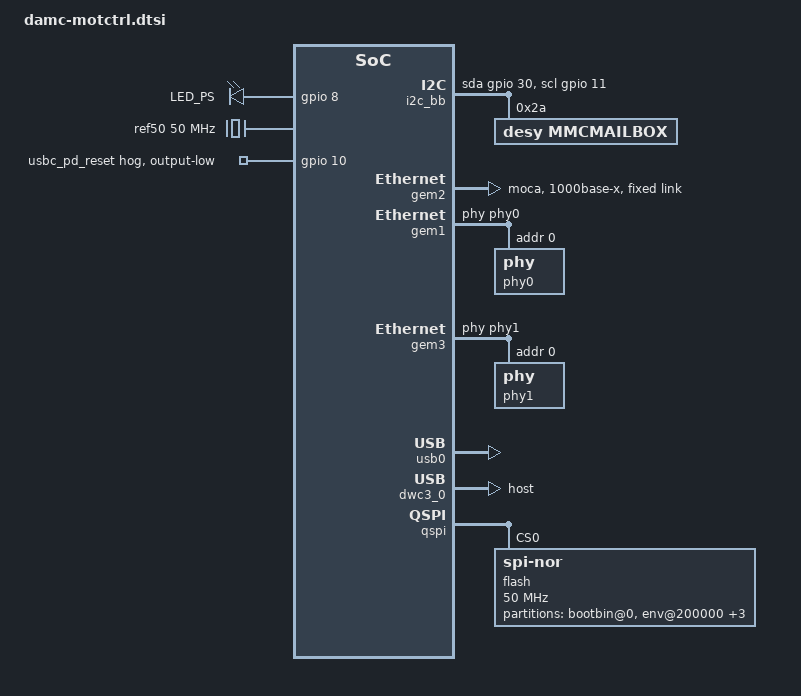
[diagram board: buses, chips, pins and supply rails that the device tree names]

#include "dt-bindings/gpio/gpio.h"
#include "dt-bindings/phy/phy.h"

/ {
/* No MAC EEPROM ==> Use STAMP UID */

    gpio-leds {
        compatible = "gpio-leds";

        // MIO8 DEBUG LED
        led-ps1 {
            label = "LED_PS";
            linux,default-trigger = "heartbeat";
            gpios = <&gpio 8 GPIO_ACTIVE_HIGH>;
        };
    };

    /* 50MHz reference crystal Y2 */
    ref50: ref50M {
        compatible = "fixed-clock";
        #clock-cells = <0>;
        clock-frequency = <50000000>;
    };

    i2c_bb {
        compatible = "i2c-gpio";

        scl-gpios = <&gpio 11 (GPIO_ACTIVE_HIGH|GPIO_OPEN_DRAIN)>;
        sda-gpios = <&gpio 30 (GPIO_ACTIVE_HIGH|GPIO_OPEN_DRAIN)>;

        mmcmailbox@2a {
            compatible = "desy,mmcmailbox";
            reg = <0x2a>;
        };
    };
};

// GEM1, GEM3: RGMII <--> 88E1512
// GEM2: 1000BASE-X (no ext. PHY)
// On Rev.A, there is no UID EEPROM for the MAC addresses,
// they have to be set in U-Boot: https://redmine.msktools.desy.de/issues/12083#note-2
&gem2 {
    is-internal-pcspma;
    phy-mode = "moca";
    phy-connection-type = "1000base-x";
    fixed-link {
          speed = <1000>;
          full-duplex;
    };
};

&gem1 {
    phy-handle = <&phy0>;
	phy0: phy@0 {
		reg = <0x0>;
        device_type = "ethernet-phy";
        marvell,reg-init =
          <18 20 0xfff8 0x2>;
	};
};

&gem3 {
    phy-handle = <&phy1>;
	phy1: phy@0 {
		reg = <0x0>;
        device_type = "ethernet-phy";
        marvell,reg-init =
          <18 20 0xfff8 0x2>;
	};
};

&sdhci0 {
    // WP pin is not available on microSD, not connected on the board
    disable-wp;

    // the HW does not support SD 3.0
    no-1-8-v;
};

&gpio {
    /*
    No pins were available, I2C always on
    i2c0oe {
        gpio-hog;
        output-high;
        gpios = <20 GPIO_ACTIVE_HIGH>;
    };
    */
    // USB Host ist drauf
    // USB3 Pin nicht verbunden!
    // USB C ist USB 2 und Display Port
    usbc_pd_reset {
        gpio-hog;
        output-low;
        gpios = <10 GPIO_ACTIVE_HIGH>;
    };
};


&i2c0 { // MIO6 / 7
    /*
        eeprom_mac: eeprom@50 {
            compatible = "atmel,24c02";
            reg = <0x50>;
            pagesize = <16>;
        };
    */
};

/*
&eeprom_mac  {
    #address-cells = <1>;
    #size-cells = <1>;

    eth_mac: eth_mac@fa {
        reg = <0xfa 0x6>;
    };
};
*/

/*
&dwc3_0 {
    status = "okay";
    dr_mode = "host";
    snps,usb3_lpm_capable;
    phy-names = "usb3-phy";
//    phys = <&lane2 PHY_TYPE_USB3 0 2 26000000>; Wir haben kein USB3 d.h. keinen dedizierten GTR Transceiver
    maximum-speed = "super-speed";
};
*/

/*

		usb0@ff9d0000 {
                        #address-cells = <0x02>;
                        #size-cells = <0x02>;
                        status = "okay";
                        compatible = "xlnx,zynqmp-dwc3";
                        reg = <0x00 0xff9d0000 0x00 0x100>;
                        clock-names = "bus_clk\0ref_clk";
                        power-domains = <0x0c 0x16>;
                        ranges;
                        nvmem-cells = <0x12>;
                        nvmem-cell-names = "soc_revision";
                        clocks = <0x03 0x20 0x03 0x22>;
                        xlnx,tz-nonsecure = <0x01>;
                        xlnx,usb-polarity = <0x01>;
                        xlnx,usb-reset-io = <0x0a>;
                        xlnx,usb-reset-mode = <0x02>;
                        phandle = <0x6a>;

                        dwc3@fe200000 {
                                compatible = "snps,dwc3";
                                status = "okay";
                                reg = <0x00 0xfe200000 0x00 0x40000>;
                                interrupt-parent = <0x04>;
                                interrupt-names = "dwc_usb3\0otg\0hiber";
                                interrupts = <0x00 0x41 0x04 0x00 0x45 0x04 0x00 0x4b 0x04>;
                                #stream-id-cells = <0x01>;
                                iommus = <0x0d 0x860>;
                                snps,quirk-frame-length-adjustment = <0x20>;
                                snps,refclk_fladj;
                                snps,enable_guctl1_resume_quirk;
                                snps,enable_guctl1_ipd_quirk;
                                snps,xhci-stream-quirk;
                                maximum-speed = "high-speed";
                                snps,dis_u2_susphy_quirk;
                                snps,dis_u3_susphy_quirk;
                                phandle = <0x6b>;
                        };
                };

*/


&usb0 {
	status = "okay";
        /delete-property/ clocks;
	/delete-property/ clock-names;
	clocks = <0x3 0x21>;
	clock-names = "bus_clk";
};

&dwc3_0 {
        maximum-speed = "high-speed";
        //snps,dis_u2_susphy_quirk;
        //snps,dis_u3_susphy_quirk;
        snps,usb3_lpm_capable;
        phy-names = "usb2-phy";
	status = "okay";
        dr_mode = "host";
};


// copied from ZCU104
// and https://www.zachpfeffer.com/single-post/Integrate-a-QSPI-using-PetaLinux-Tools-Part-2
// going very slow
&qspi {
    flash@0 {
        compatible = "jedec,spi-nor";
        #address-cells = <1>;
        #size-cells = <1>;
        reg = <0x0>;
        spi-tx-bus-width = <1>;
        spi-rx-bus-width = <1>;
        spi-max-frequency = <50000000>;
        partitions {
            compatible = "fixed-partitions";
            #address-cells = <1>;
            #size-cells = <1>;
            bootbin@0 {
                /* 2M for FSBL + Uboot */
                reg = <0x00000000 0x00200000>;
            };
            env@200000 {
                /* 256k for Uboot env */
                reg = <0x00200000 0x00040000>;
            };
            dts@240000 {
                /* 256k for device tree */
                reg = <0x00240000 0x00040000>;
            };
            image@280000 {
                /* 32M for kernel */
                reg = <0x00280000 0x02000000>;
            };
            recovery@2280000 {
                /* 93.5M remaining for recovery-rootfs */
                reg = <0x02280000 0x05D80000>;
            };
        };
    };
};
